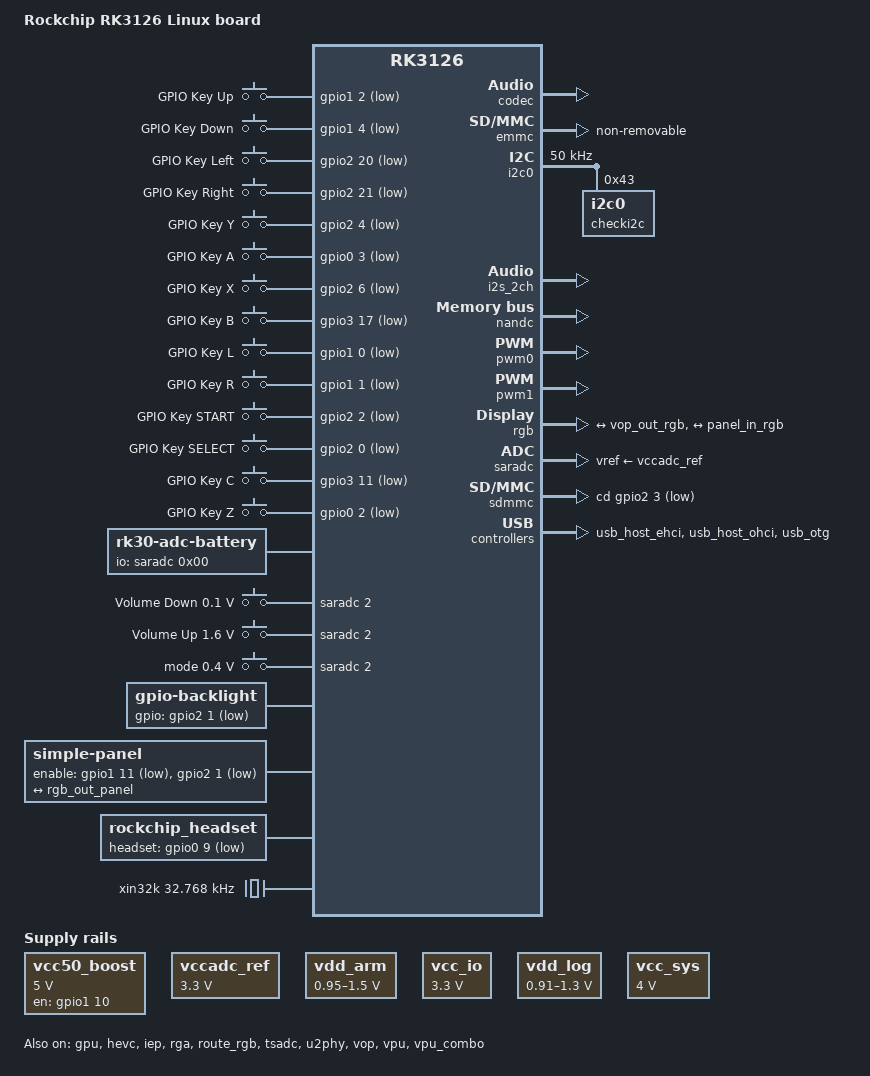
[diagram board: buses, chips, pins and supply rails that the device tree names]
// SPDX-License-Identifier: (GPL-2.0+ OR MIT)
/*
 * Copyright (c) 2019 Fuzhou Rockchip Electronics Co., Ltd
 */

/dts-v1/;
#include <dt-bindings/gpio/gpio.h>
#include <dt-bindings/input/input.h>
#include <dt-bindings/pinctrl/rockchip.h>
#include <dt-bindings/pwm/pwm.h>
#include "rk3126.dtsi"
#include "rk312x-android.dtsi"

/ {
	model = "Rockchip RK3126 Linux board";
	compatible = "rockchip,rk3126";

	0gpio-keys {
		status = "okay";
		compatible = "gpio-keys";
		autorepeat;
		pinctrl-names = "default";
		pinctrl-0 = <&game_keys>;

		up_key {
			gpios = <&gpio1 2 GPIO_ACTIVE_LOW>;
			linux,code = <KEY_UP>;
			label = "GPIO Key Up";
			debounce-interval = <20>;
		};

		down_key {
			gpios = <&gpio1 4 GPIO_ACTIVE_LOW>;
			linux,code = <KEY_DOWN>;
			label = "GPIO Key Down";
			debounce-interval = <20>;
		};

		left_key {
			gpios = <&gpio2 20 GPIO_ACTIVE_LOW>;
			linux,code = <KEY_LEFT>;
			label = "GPIO Key Left";
			debounce-interval = <20>;
		};

		right_key {
			gpios = <&gpio2 21 GPIO_ACTIVE_LOW>;
			linux,code = <KEY_RIGHT>;
			label = "GPIO Key Right";
			debounce-interval = <20>;
		};

		y_key {
			gpios = <&gpio2 4 GPIO_ACTIVE_LOW>;
			linux,code = <KEY_Y>;
			label = "GPIO Key Y";
			debounce-interval = <20>;
		};

		a_key {
			gpios = <&gpio0 3 GPIO_ACTIVE_LOW>;
			linux,code = <KEY_A>;
			label = "GPIO Key A";
			debounce-interval = <20>;
		};

		x_key {
			gpios = <&gpio2 6 GPIO_ACTIVE_LOW>;
			linux,code = <KEY_X>;
			label = "GPIO Key X";
			debounce-interval = <20>;
		};

		b_key {
			gpios = <&gpio3 17 GPIO_ACTIVE_LOW>;
			linux,code = <KEY_B>;
			label = "GPIO Key B";
			debounce-interval = <20>;
		};

		l_key {
			gpios = <&gpio1 0 GPIO_ACTIVE_LOW>;
			linux,code = <KEY_L>;
			label = "GPIO Key L";
			debounce-interval = <20>;
		};

		r_key {
			gpios = <&gpio1 1 GPIO_ACTIVE_LOW>;
			linux,code = <KEY_R>;
			label = "GPIO Key R";
			debounce-interval = <20>;
		};

		start_key {
			gpios = <&gpio2 2 GPIO_ACTIVE_LOW>;
			linux,code = <KEY_ENTER>;
			label = "GPIO Key START";
			debounce-interval = <20>;
		};

		select_key {
			gpios = <&gpio2 0 GPIO_ACTIVE_LOW>;
			linux,code = <KEY_RIGHTSHIFT>;
			label = "GPIO Key SELECT";
			debounce-interval = <20>;
		};

		r2_key {
			gpios = <&gpio3 11 GPIO_ACTIVE_LOW>;
			linux,code = <KEY_C>;
			label = "GPIO Key C";
			debounce-interval = <20>;
		};

		l2_key {
			gpios = <&gpio0 2 GPIO_ACTIVE_LOW>;
			linux,code = <KEY_Z>;
			label = "GPIO Key Z";
			debounce-interval = <20>;
		};
	};

	adc-battery {
		status = "okay";
		compatible = "rk30-adc-battery";
		io-channels = <&saradc 0x00>;
		auto_calibration = <0>;
		ref_voltage = <3300>;
		bat_table = <0 0 0 0 200 200 3460 3580 3650 3713 3748 3778 3813 3886 3913 3990 4060 3630 3844 3876 3907 3930 3948 3980 4047 4084 4130 4200>;
		is_usb_charge = <1>;
	};

	adc-keys {
		compatible = "adc-keys";
		io-channels = <&saradc 2>;
		io-channel-names = "buttons";
		poll-interval = <100>;
		keyup-threshold-microvolt = <3300000>;

		vol-down {
			label = "Volume Down";
			linux,code = <KEY_VOLUMEDOWN>;
			press-threshold-microvolt = <100000>;
		};

		vol-up {
			label = "Volume Up";
			linux,code = <KEY_VOLUMEUP>;
			press-threshold-microvolt = <1600000>;
		};

		mode_key {
			label = "mode";
			linux,code = <KEY_END>;
			press-threshold-microvolt = <400000>;
		};
	};

	backlight {
                compatible = "gpio-backlight";
                gpios = <&gpio2 1 GPIO_ACTIVE_LOW>;
		default-state = "on";
		status = "okay";
	};

	chosen {
		/*stdout-path = &uart2;
                bootargs = "earlycon=tty0 rootwait console=ttyS2,115200n8 swiotlb=1 root=PARTUUID=614e0000-0000-4b53-8000-1d28000054a9";*/
                bootargs = "root=PARTUUID=614e0000-0000-4b53-8000-1d28000054a9 rootwait";
	};

	panel {
		compatible = "simple-panel";
		pinctrl-names = "default";
		pinctrl-0 = <&lcd_bl &lcd_enable>;
		bus-format = <MEDIA_BUS_FMT_RGB666_1X18>;
		width-mm = <105>;
		height-mm = <70>;
		enable-gpios = <&gpio1 11 GPIO_ACTIVE_LOW>, <&gpio2 1 GPIO_ACTIVE_LOW>;
		reset-delay-ms = <60>;
		enable-delay-ms = <100>;
		prepare-delay-ms = <100>;
		rockchip,data-width = <18>;
		rockchip,output = "rgb";

		display-timings {
			native-mode = <&timing0>;

			timing0: timing0 {
				clock-frequency = <16000000>;
				hactive = <480>;
				vactive = <273>;
				hback-porch = <10>;
				hfront-porch = <10>;
				vback-porch = <31>;
				vfront-porch = <2>;
				hsync-len = <41>;
				vsync-len = <28>;
				hsync-active = <0>;
				vsync-active = <1>;
				de-active = <0>;
				pixelclk-active = <1>;
			};

			timing2: timing2 {
				clock-frequency = <12000000>;
				hactive = <480>;
				hback-porch = <20>;
				hfront-porch = <20>;
				hsync-len = <40>;
				vactive = <272>;
				vback-porch = <15>;
				vfront-porch = <24>;
				vsync-len = <16>;
				hsync-active = <0>;
				vsync-active = <0>;
				de-active = <0>;
				pixelclk-active = <1>;
			};

			timing1: timing1 {
				clock-frequency = <12000000>;
				hactive = <480>;
				hback-porch = <20>;
				hfront-porch = <20>;
				hsync-len = <41>;
				vactive = <272>;
				vback-porch = <1>;
				vfront-porch = <10>;
				vsync-len = <1>;
				hsync-active = <0>;
				vsync-active = <0>;
				de-active = <0>;
				pixelclk-active = <0>;
			};
		};

		port {
			panel_in_rgb: endpoint {
				remote-endpoint = <&rgb_out_panel>;
			};
		};
	};

	rockchip_headset {
		compatible = "rockchip_headset";
		headset_gpio = <&gpio0 9 GPIO_ACTIVE_LOW>;
		status = "okay";
	};

	sound {
		compatible = "simple-audio-card";
		simple-audio-card,format = "i2s";
		simple-audio-card,mclk-fs = <256>;
		simple-audio-card,name = "rockchip,rk312x";
		simple-audio-card,cpu {
			sound-dai = <&i2s_2ch>;
		};
		simple-audio-card,codec {
			sound-dai = <&codec>;
		};
	};

	vcc50_boost: vcc50-boost {
		compatible = "regulator-fixed";
		gpio = <&gpio1 10 GPIO_ACTIVE_HIGH>;
		regulator-name = "vcc50_boost";
		enable-active-high;
		regulator-min-microvolt = <5000000>;
		regulator-max-microvolt = <5000000>;
		regulator-always-on;
		regulator-boot-on;
		status = "okay";
	};

	vccadc_ref: vccadc-ref {
		compatible = "regulator-fixed";
		regulator-name = "SARADC_AVDD33";
		regulator-always-on;
		regulator-boot-on;
		regulator-min-microvolt = <3300000>;
		regulator-max-microvolt = <3300000>;
	};

	vdd_arm: vdd-arm-regulator {
		compatible = "pwm-regulator";
		rockchip,pwm_id = <0>;
		rockchip,pwm_voltage = <1100000>;
		pwms = <&pwm0 0 5000 GPIO_ACTIVE_LOW>;
		regulator-name = "vdd_arm";
		regulator-min-microvolt = <950000>;
		regulator-max-microvolt = <1500000>;
		regulator-always-on;
		regulator-boot-on;
	};

	vcc_io: vcc-io {
		compatible = "regulator-fixed";
		regulator-name = "vcc_io";
		regulator-min-microvolt = <3300000>;
		regulator-max-microvolt = <3300000>;
		regulator-always-on;
		regulator-boot-on;
	};

	vdd_log: vdd-log-regulator {
		compatible = "pwm-regulator";
		rockchip,pwm_id = <1>;
		rockchip,pwm_voltage = <1100000>;
		pwms = <&pwm1 0 5000 GPIO_ACTIVE_LOW>;
		regulator-name = "vdd_log";
		regulator-min-microvolt = <910000>;
		regulator-max-microvolt = <1300000>;
		regulator-always-on;
		regulator-boot-on;
	};

	vcc_sys: vcc-sys {
		compatible = "regulator-fixed";
		regulator-name = "vcc_sys";
		regulator-min-microvolt = <4000000>;
		regulator-max-microvolt = <4000000>;
		regulator-always-on;
	};

	xin32k: xin32k {
		compatible = "fixed-clock";
		clock-frequency = <32768>;
		clock-output-names = "xin32k";
		#clock-cells = <0>;
	};
};

&codec {
	status = "okay";
	#sound-dai-cells = <0>;
	hp-ctl-gpios = <&gpio1 5 GPIO_ACTIVE_HIGH>;
	spk-ctl-gpios = <&gpio1 8 GPIO_ACTIVE_HIGH>;
	spk-mute-delay = <5>;
	hp-mute-delay = <5>;
	is_rk3128 = <0>;
	spk_volume = <23>;
	hp_volume = <25>;
	capture_volume = <26>;
	gpio_debug = <0>;
	codec_hp_det = <0>;
};

&cpu0 {
	cpu-supply = <&vdd_arm>;
};

&dmc {
	system-status-freq = <1 456000>;
	center-supply = <&vdd_log>;
};

&emmc {
	status = "okay";
	cap-mmc-highspeed;
	supports-emmc;
	disable-wp;
	non-removable;
};

&gpu {
	status = "okay";
	mali-supply = <&vdd_log>;
};

&hevc {
	status = "okay";
};

&hevc_mmu {
	status = "okay";
};

&i2c0 {
	status = "okay";
	i2c-scl-rising-time-ns = <265>;
	i2c-scl-falling-time-ns = <260>;
	clock-frequency = <50000>;

	checki2c@43 {
		compatible = "i2c0";
		reg = <0x43>;
	};
};

&i2s_2ch {
	#sound-dai-cells = <0>;
	status = "okay";
};

&iep {
	status = "okay";
};

&iep_mmu {
	status = "okay";
};

&nandc {
	status = "okay";
};

&pinctrl {
	lcdc {
		lcdc_rgb_pins: lcdc-rgb-pins {
			rockchip,pins =
				<RK_GPIO2 8 GPIO_ACTIVE_LOW &pcfg_pull_none>,
				<RK_GPIO2 9 GPIO_ACTIVE_LOW &pcfg_pull_none>,
				<RK_GPIO2 10 GPIO_ACTIVE_LOW &pcfg_pull_none>,
				<RK_GPIO2 11 GPIO_ACTIVE_LOW &pcfg_pull_none>,
				<RK_GPIO2 12 GPIO_ACTIVE_LOW &pcfg_pull_none>,
				<RK_GPIO2 13 GPIO_ACTIVE_LOW &pcfg_pull_none>,
				<RK_GPIO2 14 GPIO_ACTIVE_LOW &pcfg_pull_none>,
				<RK_GPIO2 15 GPIO_ACTIVE_LOW &pcfg_pull_none>,
				<RK_GPIO2 16 GPIO_ACTIVE_LOW &pcfg_pull_none>,
				<RK_GPIO2 17 GPIO_ACTIVE_LOW &pcfg_pull_none>,
				<RK_GPIO2 18 GPIO_ACTIVE_LOW &pcfg_pull_none>,
				<RK_GPIO2 19 GPIO_ACTIVE_LOW &pcfg_pull_none>;
		};

		lcdc_sleep_pins: lcdc-sleep-pins {
			rockchip,pins =
				<RK_GPIO2 8 GPIO_ACTIVE_HIGH &pcfg_pull_none>,
				<RK_GPIO2 9 GPIO_ACTIVE_HIGH &pcfg_pull_none>,
				<RK_GPIO2 10 GPIO_ACTIVE_HIGH &pcfg_pull_none>,
				<RK_GPIO2 11 GPIO_ACTIVE_HIGH &pcfg_pull_none>,
				<RK_GPIO2 12 GPIO_ACTIVE_HIGH &pcfg_pull_none>,
				<RK_GPIO2 13 GPIO_ACTIVE_HIGH &pcfg_pull_none>,
				<RK_GPIO2 14 GPIO_ACTIVE_HIGH &pcfg_pull_none>,
				<RK_GPIO2 15 GPIO_ACTIVE_HIGH &pcfg_pull_none>,
				<RK_GPIO2 16 GPIO_ACTIVE_HIGH &pcfg_pull_none>,
				<RK_GPIO2 17 GPIO_ACTIVE_HIGH &pcfg_pull_none>,
				<RK_GPIO2 18 GPIO_ACTIVE_HIGH &pcfg_pull_none>,
				<RK_GPIO2 19 GPIO_ACTIVE_HIGH &pcfg_pull_none>;
		};

		lcd_bl: lcd-bl {
			rockchip,pins = <RK_GPIO2 1 GPIO_ACTIVE_HIGH &pcfg_pull_none>;
		};

		lcd_enable: lcd-enable {
			rockchip,pins = <RK_GPIO1 11 GPIO_ACTIVE_HIGH &pcfg_pull_none>;
		};
	};

	buttons {
		game_keys: game-keys {
			rockchip,pins =
			<RK_GPIO2 4 GPIO_ACTIVE_HIGH &pcfg_pull_none>,
			<RK_GPIO0 3 GPIO_ACTIVE_HIGH &pcfg_pull_none>,
			<RK_GPIO2 6 GPIO_ACTIVE_HIGH &pcfg_pull_none>,
			<RK_GPIO3 17 GPIO_ACTIVE_HIGH &pcfg_pull_none>,
			<RK_GPIO1 2 GPIO_ACTIVE_HIGH &pcfg_pull_none>,
			<RK_GPIO1 4 GPIO_ACTIVE_HIGH &pcfg_pull_none>,
			<RK_GPIO2 21 GPIO_ACTIVE_HIGH &pcfg_pull_none>,
			<RK_GPIO2 20 GPIO_ACTIVE_HIGH &pcfg_pull_none>,
			<RK_GPIO1 0 GPIO_ACTIVE_HIGH &pcfg_pull_none>,
			<RK_GPIO1 1 GPIO_ACTIVE_HIGH &pcfg_pull_none>,
			<RK_GPIO2 0 GPIO_ACTIVE_HIGH &pcfg_pull_none>,
			<RK_GPIO2 2 GPIO_ACTIVE_HIGH &pcfg_pull_none>,
			<RK_GPIO0 2 GPIO_ACTIVE_HIGH &pcfg_pull_none>,
			<RK_GPIO3 11 GPIO_ACTIVE_HIGH &pcfg_pull_none>;
		};
	};
};

&pwm0 {
	status = "okay";
};

&pwm1 {
	status = "okay";
};

&rga {
	status = "okay";
};

&rgb {
	status = "okay";

	ports {
		#address-cells = <1>;
		#size-cells = <0>;

		port@0 {
			reg = <0x00>;

			endpoint {
				remote-endpoint = <&vop_out_rgb>;
				status = "okay";
			};
		};

		port@1 {
			reg = <0x01>;

			rgb_out_panel: endpoint {
				remote-endpoint = <&panel_in_rgb>;
			};
		};
	};
};

&route_rgb{
	status = "okay";
};

&saradc {
	status = "okay";
	vref-supply = <&vccadc_ref>;
};

&sdmmc {
	status = "okay";
	clock-frequency = <150000000>;
	supports-highspeed;
	cap-sd-highspeed;
	supports-emmc;
	supports-sd;
	card-detect-delay = <800>;
	ignore-pm-notify;
	keep-power-in-suspend;
	cd-gpios = <&gpio2 3 GPIO_ACTIVE_LOW>;
};

&tsadc {
	status = "okay";
};

&u2phy {
	status = "okay";

	u2phy_otg: otg-port {
		status = "okay";
	};

	u2phy_host: host-port {
		status = "okay";
	};
};

&usb_host_ehci {
	status = "okay";
};

&usb_host_ohci {
	status = "okay";
};

&usb_otg {
	status = "okay";
};

&vop {
	status = "okay";
};

&vop_mmu {
	status = "okay";
	rockchip,skip-mmu-read;
};

&vpu {
	status = "okay";
};

&vpu_combo {
	status = "okay";
};

&vpu_mmu {
	status = "okay";
};
